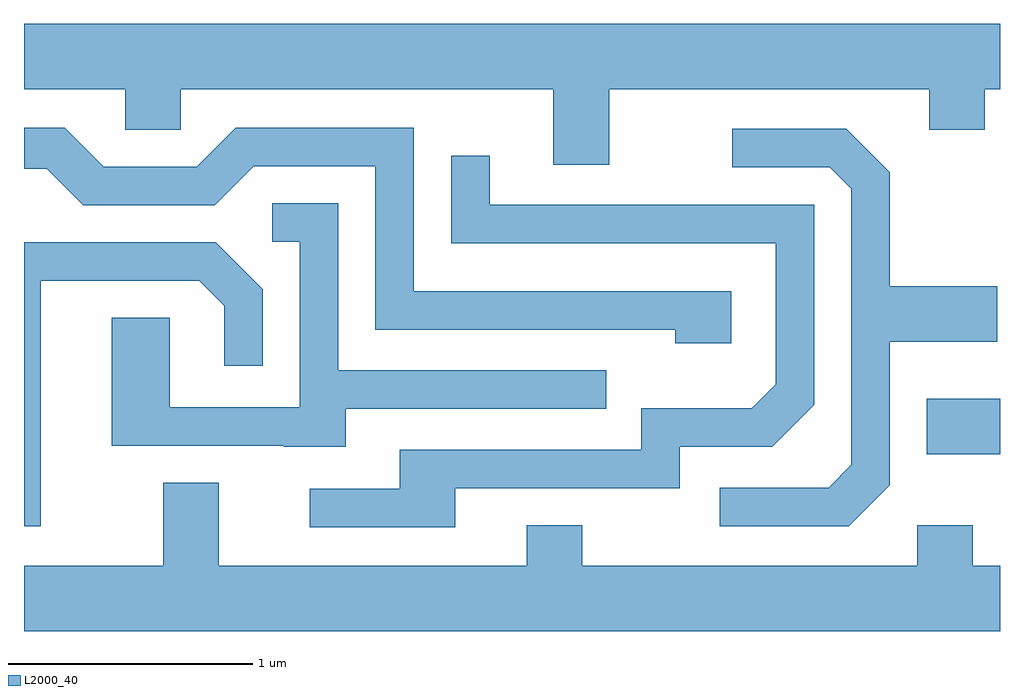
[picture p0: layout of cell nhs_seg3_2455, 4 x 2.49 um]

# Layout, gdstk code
import gdstk
lib = gdstk.Library(unit=1e-6, precision=1e-09)
def R(c, l, rs):  # rectangles x0, y0, x1, y1
    for r in rs: c.add(gdstk.rectangle(r[:2], r[2:], *l))
def P(c, l, *ps):  # polygons
    for p in ps: c.add(gdstk.Polygon(p, *l))
L2000_40 = (2000, 40)

nhs_seg3_2455 = lib.new_cell('nhs_seg3_2455')
R(nhs_seg3_2455, L2000_40, [(261.311,1131.181,261.611,1131.409)])
P(nhs_seg3_2455, L2000_40, [(260.009,1132.676),(261.321,1132.676),(261.321,1132.511),(261.549,1132.511),(261.549,1132.676),(261.611,1132.676),(261.611,1132.944),(257.611,1132.944),(257.611,1132.676),(258.026,1132.676),(258.026,1132.511),(258.254,1132.511),(258.254,1132.676),(259.781,1132.676),(259.781,1132.366),(260.009,1132.366)],
  [(260.509,1131.849),(259.209,1131.849),(259.209,1132.519),(258.479,1132.519),(258.319,1132.359),(257.937,1132.359),(257.777,1132.519),(257.611,1132.519),(257.611,1132.351),(257.704,1132.351),(257.854,1132.201),(258.392,1132.201),(258.552,1132.361),(259.051,1132.361),(259.051,1131.691),(260.281,1131.691),(260.281,1131.636),(260.509,1131.636)],
  [(261.159,1131.054),(261.159,1131.641),(261.599,1131.641),(261.599,1131.869),(261.159,1131.869),(261.159,1132.337),(260.981,1132.514),(260.513,1132.514),(260.513,1132.356),(260.914,1132.356),(261.001,1132.269),(261.001,1131.137),(260.909,1131.044),(260.462,1131.044),(260.462,1130.886),(260.992,1130.886)],
  [(259.379,1131.041),(260.299,1131.041),(260.299,1131.211),(260.677,1131.211),(260.849,1131.384),(260.849,1132.204),(259.519,1132.204),(259.519,1132.403),(259.361,1132.403),(259.361,1132.046),(260.691,1132.046),(260.691,1131.467),(260.594,1131.369),(260.141,1131.369),(260.141,1131.199),(259.151,1131.199),(259.151,1131.039),(258.783,1131.039),(258.783,1130.881),(259.379,1130.881)],
  [(258.929,1131.366),(259.998,1131.366),(259.998,1131.524),(258.899,1131.524),(258.899,1132.209),(258.628,1132.209),(258.628,1132.051),(258.741,1132.051),(258.741,1131.374),(258.209,1131.374),(258.209,1131.739),(257.971,1131.739),(257.971,1131.216),(258.675,1131.216),(258.675,1131.211),(258.929,1131.211)],
  [(257.679,1131.891),(258.329,1131.891),(258.431,1131.789),(258.431,1131.543),(258.589,1131.543),(258.589,1131.857),(258.397,1132.049),(257.611,1132.049),(257.611,1130.886),(257.679,1130.886)],
  [(261.611,1130.724),(261.499,1130.724),(261.499,1130.889),(261.271,1130.889),(261.271,1130.724),(259.899,1130.724),(259.899,1130.889),(259.671,1130.889),(259.671,1130.724),(258.409,1130.724),(258.409,1131.064),(258.181,1131.064),(258.181,1130.724),(257.611,1130.724),(257.611,1130.456),(261.611,1130.456)])

lib.write_gds('nhs_seg3_2455.gds')
